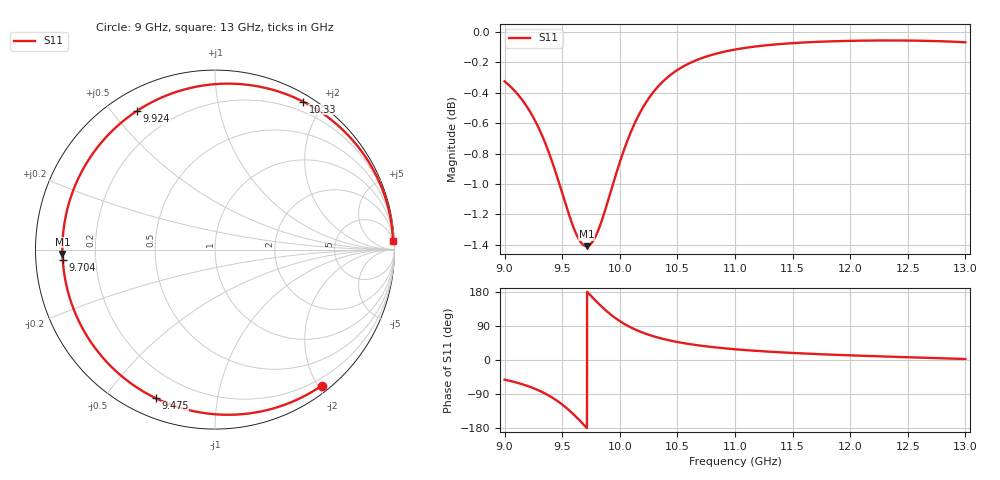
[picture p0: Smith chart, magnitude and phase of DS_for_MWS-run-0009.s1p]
! TOUCHSTONE file generated by CST DESIGN STUDIO
! Date and time: Tue Feb  4 16:07:22 2025
! Project name: C:\Work\MatlabApps\UnitCellOptimizationMatlab\CST\unitcell.cst
! Tree item: Tasks\Sweep1\SPara1\S-Parameters
! Header version: 2024
! Port assignment regex: !\s*Touchstone port\s*([0-9]+)\s*=\s*(CST MWS port|CST DES external port|CST DES block port)\s*(.+)\s* \(\"(.*)\"\)(\s*mode\s*([0-9]+))?.*
! Touchstone port assignment:
! Touchstone port 1 = CST DES external port 1 ("")
# GHz S MA R 50
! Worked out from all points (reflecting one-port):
!   4001 points, 9 GHz to 13 GHz, reference 50 ohm
!   lowest |S11| = -1.4 dB at 9.711 GHz (marker M1), VSWR 12.35, Z = 4.05 - j0.69 ohm
!   phase of S11 starts at -52 deg and turns -306 deg over the sweep
!   S11 on the Smith chart (normalised r, x): 9 GHz: 0.10, -2.05; 9.475 GHz: 0.08, -0.67; 9.704 GHz: 0.08, -0.03; 9.924 GHz: 0.08, +0.58; 10.33 GHz: 0.08, +1.76; 13 GHz: 7, +42
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9  0.9633 -51.8
9.128  0.9524 -61.7
9.249  0.9373 -74.2
9.376  0.9144 -92.5
9.428  0.9028 -101.9
9.475  0.8914 -111.7
9.5  0.8851 -117.5
9.548  0.8733 -129.5
9.595  0.8629 -142.5
9.652  0.8537 -159.6
9.704  0.8502 -176.2
9.711  0.8502 -178.4
9.756  0.8523 167.2
9.803  0.8587 152.5
9.864  0.8715 134.8
9.924  0.8867 119.3
10  0.906 102.6
10.073  0.9224 89.5
10.16  0.9383 77.0
10.242  0.9499 67.5
10.331  0.9594 59.2
10.5  0.9716 47.5
10.718  0.9806 37.2
11  0.9868 28.3
11.5  0.9916 18.6
12  0.9933 12.2
12.5  0.9936 7.3
13  0.9922 2.6
